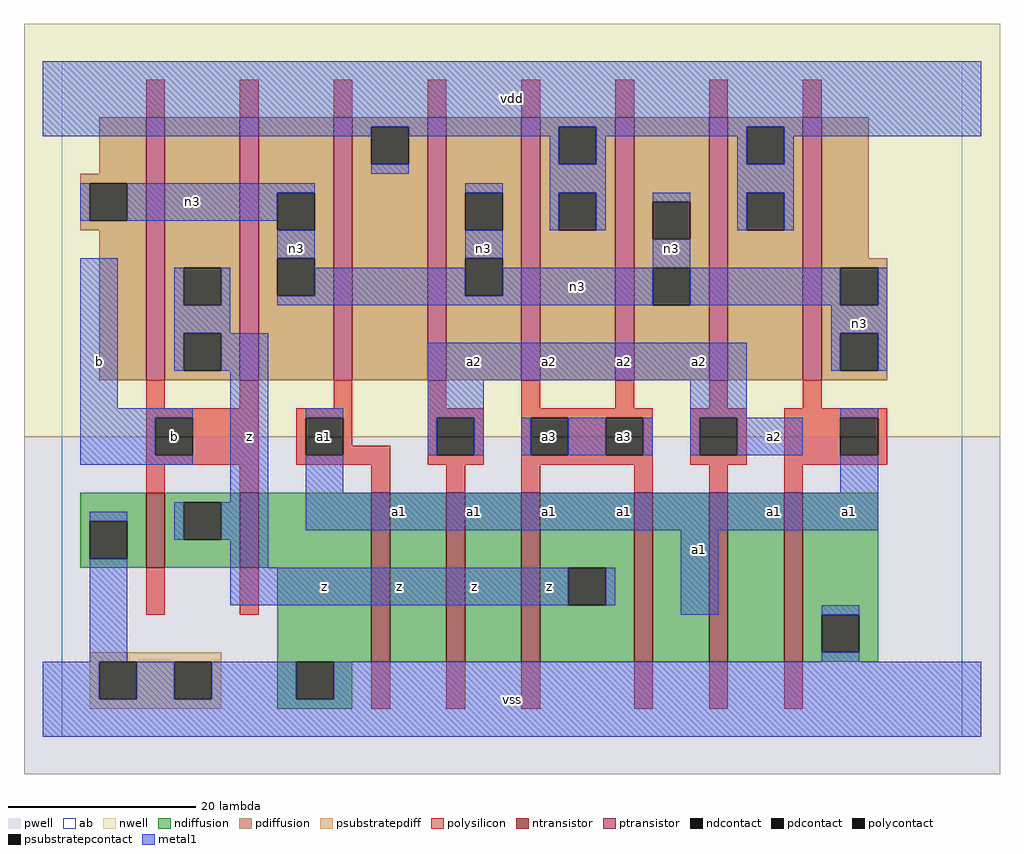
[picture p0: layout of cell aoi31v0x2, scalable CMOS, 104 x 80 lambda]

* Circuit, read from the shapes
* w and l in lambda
.subckt aoi31v0x2 a1 a2 a3 b n3 vdd vss z
M1 z b vss vss nfet w=8 l=2 m=2
M2 n1 a1 vss vss nfet w=18 l=2
M3 n2 a2 n1 vss nfet w=18 l=2
M4 z a3 n2 vss nfet w=18 l=2
M5 n4 a3 z vss nfet w=18 l=2
M6 n5 a2 n4 vss nfet w=18 l=2
M7 vss a1 n5 vss nfet w=18 l=2
M8 z b n3 n6 pfet w=28 l=2 m=2
M9 vdd a1 n3 n6 pfet w=28 l=2 m=2
M10 n3 a2 vdd n6 pfet w=28 l=2 m=2
M11 vdd a3 n3 n6 pfet w=28 l=2 m=2
.ends

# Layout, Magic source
magic
tech scmos
<< ab >>
rect 0 0 96 72
<< pwell >>
rect -4 -4 100 32
<< nwell >>
rect -4 32 100 76
<< polysilicon >>
rect 9 66 11 70
rect 19 66 21 70
rect 29 66 31 70
rect 39 66 41 70
rect 49 66 51 70
rect 59 66 61 70
rect 69 66 71 70
rect 79 66 81 70
rect 9 35 11 38
rect 19 35 21 38
rect 29 35 31 38
rect 9 34 21 35
rect 9 30 10 34
rect 14 30 21 34
rect 9 29 21 30
rect 25 34 31 35
rect 25 30 26 34
rect 30 31 31 34
rect 39 35 41 38
rect 49 35 51 38
rect 59 35 61 38
rect 69 35 71 38
rect 79 35 81 38
rect 39 34 45 35
rect 30 30 35 31
rect 25 29 35 30
rect 39 30 40 34
rect 44 30 45 34
rect 39 29 45 30
rect 49 34 63 35
rect 49 30 50 34
rect 54 30 58 34
rect 62 30 63 34
rect 49 29 63 30
rect 67 34 73 35
rect 67 30 68 34
rect 72 30 73 34
rect 67 29 73 30
rect 77 34 88 35
rect 77 30 83 34
rect 87 30 88 34
rect 77 29 88 30
rect 9 26 11 29
rect 19 26 21 29
rect 33 26 35 29
rect 41 26 43 29
rect 49 26 51 29
rect 61 26 63 29
rect 69 26 71 29
rect 77 26 79 29
rect 9 13 11 18
rect 19 13 21 18
rect 33 3 35 8
rect 41 3 43 8
rect 49 3 51 8
rect 61 3 63 8
rect 69 3 71 8
rect 77 3 79 8
<< ndiffusion >>
rect 2 23 9 26
rect 2 19 3 23
rect 7 19 9 23
rect 2 18 9 19
rect 11 25 19 26
rect 11 21 13 25
rect 17 21 19 25
rect 11 18 19 21
rect 21 18 33 26
rect 23 8 33 18
rect 35 8 41 26
rect 43 8 49 26
rect 51 18 61 26
rect 51 14 54 18
rect 58 14 61 18
rect 51 8 61 14
rect 63 8 69 26
rect 71 8 77 26
rect 79 13 87 26
rect 79 9 81 13
rect 85 9 87 13
rect 79 8 87 9
rect 23 4 25 8
rect 29 4 31 8
rect 23 3 31 4
<< pdiffusion >>
rect 4 60 9 66
rect 2 59 9 60
rect 2 55 3 59
rect 7 55 9 59
rect 2 54 9 55
rect 4 38 9 54
rect 11 50 19 66
rect 11 46 13 50
rect 17 46 19 50
rect 11 43 19 46
rect 11 39 13 43
rect 17 39 19 43
rect 11 38 19 39
rect 21 58 29 66
rect 21 54 23 58
rect 27 54 29 58
rect 21 51 29 54
rect 21 47 23 51
rect 27 47 29 51
rect 21 38 29 47
rect 31 65 39 66
rect 31 61 33 65
rect 37 61 39 65
rect 31 38 39 61
rect 41 58 49 66
rect 41 54 43 58
rect 47 54 49 58
rect 41 51 49 54
rect 41 47 43 51
rect 47 47 49 51
rect 41 38 49 47
rect 51 65 59 66
rect 51 61 53 65
rect 57 61 59 65
rect 51 58 59 61
rect 51 54 53 58
rect 57 54 59 58
rect 51 38 59 54
rect 61 57 69 66
rect 61 53 63 57
rect 67 53 69 57
rect 61 50 69 53
rect 61 46 63 50
rect 67 46 69 50
rect 61 38 69 46
rect 71 65 79 66
rect 71 61 73 65
rect 77 61 79 65
rect 71 58 79 61
rect 71 54 73 58
rect 77 54 79 58
rect 71 38 79 54
rect 81 51 86 66
rect 81 50 88 51
rect 81 46 83 50
rect 87 46 88 50
rect 81 43 88 46
rect 81 39 83 43
rect 87 39 88 43
rect 81 38 88 39
<< metal1 >>
rect -2 65 98 72
rect -2 64 33 65
rect 37 64 53 65
rect 33 60 37 61
rect 52 61 53 64
rect 57 64 73 65
rect 57 61 58 64
rect 2 55 3 59
rect 7 58 27 59
rect 7 55 23 58
rect 23 51 27 54
rect 2 35 6 51
rect 12 46 13 50
rect 17 46 18 50
rect 43 58 47 59
rect 52 58 58 61
rect 72 61 73 64
rect 77 64 98 65
rect 77 61 78 64
rect 72 58 78 61
rect 52 54 53 58
rect 57 54 58 58
rect 63 57 67 58
rect 43 51 47 54
rect 27 47 43 50
rect 72 54 73 58
rect 77 54 78 58
rect 63 50 67 53
rect 47 47 63 50
rect 23 46 63 47
rect 67 46 83 50
rect 87 46 88 50
rect 12 43 18 46
rect 82 43 88 46
rect 12 39 13 43
rect 17 39 22 43
rect 2 34 14 35
rect 2 30 10 34
rect 2 29 14 30
rect 18 25 22 39
rect 39 38 73 42
rect 82 39 83 43
rect 87 39 88 43
rect 3 23 7 24
rect 12 21 13 25
rect 17 21 22 25
rect 26 34 30 35
rect 39 34 45 38
rect 67 34 73 38
rect 83 34 87 35
rect 39 30 40 34
rect 44 30 45 34
rect 49 30 50 34
rect 54 30 58 34
rect 62 30 63 34
rect 67 30 68 34
rect 72 30 79 34
rect 26 26 30 30
rect 83 26 87 30
rect 26 22 87 26
rect 3 8 7 19
rect 18 18 22 21
rect 18 14 54 18
rect 58 14 59 18
rect 66 13 70 22
rect 81 13 85 14
rect 81 8 85 9
rect -2 4 4 8
rect 8 4 12 8
rect 16 4 25 8
rect 29 4 98 8
rect -2 0 98 4
<< ntransistor >>
rect 9 18 11 26
rect 19 18 21 26
rect 33 8 35 26
rect 41 8 43 26
rect 49 8 51 26
rect 61 8 63 26
rect 69 8 71 26
rect 77 8 79 26
<< ptransistor >>
rect 9 38 11 66
rect 19 38 21 66
rect 29 38 31 66
rect 39 38 41 66
rect 49 38 51 66
rect 59 38 61 66
rect 69 38 71 66
rect 79 38 81 66
<< polycontact >>
rect 10 30 14 34
rect 26 30 30 34
rect 40 30 44 34
rect 50 30 54 34
rect 58 30 62 34
rect 68 30 72 34
rect 83 30 87 34
<< ndcontact >>
rect 3 19 7 23
rect 13 21 17 25
rect 54 14 58 18
rect 81 9 85 13
rect 25 4 29 8
<< pdcontact >>
rect 3 55 7 59
rect 13 46 17 50
rect 13 39 17 43
rect 23 54 27 58
rect 23 47 27 51
rect 33 61 37 65
rect 43 54 47 58
rect 43 47 47 51
rect 53 61 57 65
rect 53 54 57 58
rect 63 53 67 57
rect 63 46 67 50
rect 73 61 77 65
rect 73 54 77 58
rect 83 46 87 50
rect 83 39 87 43
<< psubstratepcontact >>
rect 4 4 8 8
rect 12 4 16 8
<< psubstratepdiff >>
rect 3 8 17 9
rect 3 4 4 8
rect 8 4 12 8
rect 16 4 17 8
rect 3 3 17 4
<< labels >>
rlabel polycontact 12 32 12 32 6 b
rlabel metal1 4 40 4 40 6 b
rlabel metal1 28 16 28 16 6 z
rlabel polycontact 28 32 28 32 6 a1
rlabel metal1 20 32 20 32 6 z
rlabel metal1 25 52 25 52 6 n3
rlabel metal1 14 57 14 57 6 n3
rlabel metal1 48 4 48 4 6 vss
rlabel metal1 44 16 44 16 6 z
rlabel metal1 52 16 52 16 6 z
rlabel metal1 36 16 36 16 6 z
rlabel metal1 36 24 36 24 6 a1
rlabel metal1 44 24 44 24 6 a1
rlabel metal1 52 24 52 24 6 a1
rlabel polycontact 52 32 52 32 6 a3
rlabel metal1 44 40 44 40 6 a2
rlabel metal1 52 40 52 40 6 a2
rlabel metal1 45 52 45 52 6 n3
rlabel metal1 48 68 48 68 6 vdd
rlabel metal1 60 24 60 24 6 a1
rlabel metal1 76 24 76 24 6 a1
rlabel metal1 68 20 68 20 6 a1
rlabel metal1 76 32 76 32 6 a2
rlabel polycontact 60 32 60 32 6 a3
rlabel metal1 60 40 60 40 6 a2
rlabel metal1 68 40 68 40 6 a2
rlabel metal1 65 52 65 52 6 n3
rlabel metal1 84 24 84 24 6 a1
rlabel metal1 85 44 85 44 6 n3
rlabel metal1 55 48 55 48 6 n3
<< end >>
